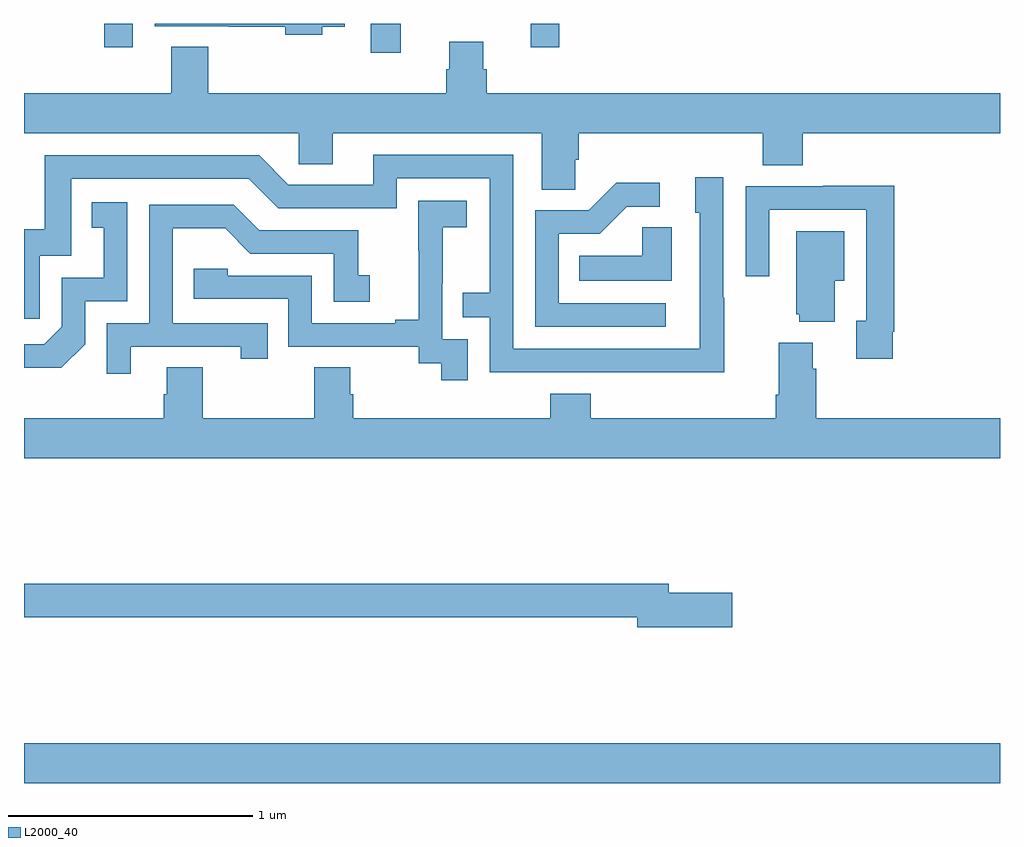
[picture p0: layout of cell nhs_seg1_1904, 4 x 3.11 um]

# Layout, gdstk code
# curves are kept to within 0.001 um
import gdstk
lib = gdstk.Library(unit=1e-6, precision=1e-09)
def R(c, l, rs):  # rectangles x0, y0, x1, y1
    for r in rs: c.add(gdstk.rectangle(r[:2], r[2:], *l))
def P(c, l, *ps):  # polygons
    for p in ps: c.add(gdstk.Polygon(p, *l))
L2000_40 = (2000, 40)

nhs_seg1_1904 = lib.new_cell('nhs_seg1_1904')
R(nhs_seg1_1904, L2000_40, [(215,529.088,219,529.252), (216.422,532.08,216.544,532.199), (215.329,532.104,215.445,532.199), (217.077,532.104,217.193,532.199)])
P(nhs_seg1_1904, L2000_40, [(216.223,532.188),(216.315,532.188),(216.315,532.199),(215.535,532.199),(215.535,532.19),(215.839,532.19),(215.839,532.188),(216.071,532.188),(216.071,532.154),(216.223,532.154)],
  [(217.26,531.643),(217.274,531.643),(217.274,531.752),(218.027,531.752),(218.027,531.619),(218.192,531.619),(218.192,531.752),(219,531.752),(219,531.916),(216.896,531.916),(216.896,532.014),(216.883,532.014),(216.883,532.126),(216.743,532.126),(216.743,532.014),(216.731,532.014),(216.731,531.916),(215.756,531.916),(215.756,532.105),(215.603,532.105),(215.603,531.916),(215,531.916),(215,531.752),(216.126,531.752),(216.126,531.625),(216.265,531.625),(216.265,531.752),(217.121,531.752),(217.121,531.52),(217.26,531.52)],
  [(217.869,531.077),(217.866,531.077),(217.866,531.571),(217.751,531.571),(217.751,531.426),(217.77,531.426),(217.77,530.868),(217.005,530.868),(217.005,531.663),(216.431,531.663),(216.431,531.54),(216.084,531.54),(215.964,531.66),(215.085,531.66),(215.085,531.358),(215,531.358),(215,530.991),(215.064,530.991),(215.064,531.249),(215.193,531.249),(215.193,531.564),(215.922,531.564),(216.042,531.444),(216.528,531.444),(216.528,531.567),(216.909,531.567),(216.909,531.098),(216.799,531.098),(216.799,530.997),(216.909,530.997),(216.909,530.772),(217.869,530.771)],
  [(217.63,531.054),(217.191,531.054),(217.191,531.339),(217.36,531.339),(217.471,531.45),(217.606,531.45),(217.606,531.548),(217.427,531.548),(217.314,531.435),(217.095,531.435),(217.095,530.958),(217.63,530.958)],
  [(218.56,530.938),(218.567,530.938),(218.567,531.536),(218.275,531.536),(218.275,531.534),(217.959,531.534),(217.959,531.165),(218.055,531.165),(218.055,531.438),(218.451,531.438),(218.451,530.982),(218.411,530.982),(218.411,530.826),(218.56,530.826)],
  [(216.819,530.907),(216.714,530.907),(216.714,531.137),(216.716,531.137),(216.716,531.365),(216.814,531.365),(216.814,531.475),(216.616,531.475),(216.616,531.269),(216.617,531.269),(216.617,530.986),(216.521,530.986),(216.521,530.973),(216.18,530.973),(216.18,531.168),(215.835,531.168),(215.835,531.195),(215.695,531.195),(215.695,531.072),(216.084,531.072),(216.084,530.877),(216.618,530.877),(216.618,530.809),(216.711,530.809),(216.711,530.739),(216.819,530.739)],
  [(215.25,530.886),(215.25,531.063),(215.424,531.063),(215.424,531.469),(215.278,531.469),(215.278,531.363),(215.327,531.363),(215.327,531.159),(215.154,531.159),(215.154,530.958),(215.082,530.886),(215,530.886),(215,530.789),(215.152,530.789)],
  [(215.437,530.877),(215.888,530.877),(215.888,530.826),(215.999,530.826),(215.999,530.973),(215.61,530.973),(215.61,531.362),(215.824,531.362),(215.928,531.258),(216.27,531.258),(216.27,531.06),(216.418,531.06),(216.418,531.169),(216.369,531.169),(216.369,531.354),(215.965,531.354),(215.86,531.459),(215.514,531.459),(215.514,530.973),(215.34,530.973),(215.34,530.766),(215.437,530.766)],
  [(217.654,531.365),(217.533,531.365),(217.533,531.25),(217.276,531.25),(217.276,531.146),(217.654,531.146)],
  [(218.323,531.146),(218.362,531.146),(218.362,531.349),(218.165,531.349),(218.165,531.009),(218.177,531.009),(218.177,530.978),(218.323,530.978)],
  [(219,530.584),(218.246,530.584),(218.246,530.786),(218.233,530.786),(218.233,530.893),(218.093,530.893),(218.093,530.68),(218.081,530.68),(218.081,530.584),(217.322,530.584),(217.322,530.683),(217.157,530.683),(217.157,530.584),(216.35,530.584),(216.35,530.682),(216.337,530.682),(216.337,530.792),(216.19,530.792),(216.19,530.584),(215.733,530.584),(215.733,530.792),(215.585,530.792),(215.585,530.682),(215.573,530.682),(215.573,530.584),(215,530.584),(215,530.42),(219,530.42)],
  [(217.903,529.868),(217.642,529.868),(217.642,529.904),(215,529.904),(215,529.768),(217.514,529.768),(217.514,529.726),(217.903,529.726)])

lib.write_gds('nhs_seg1_1904.gds')
